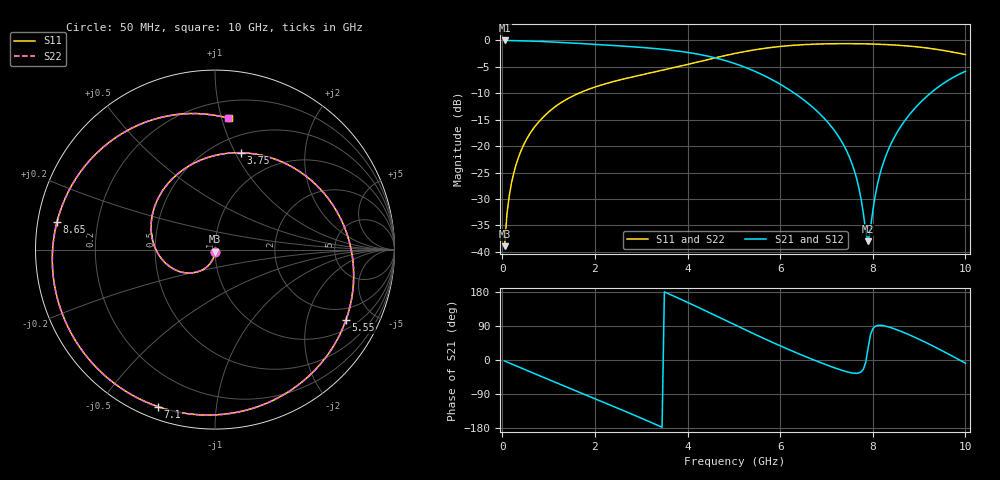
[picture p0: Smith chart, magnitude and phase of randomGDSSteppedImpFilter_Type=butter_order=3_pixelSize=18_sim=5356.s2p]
! freq	dB(S11)	phase(S11)	dB(S12)	phase(S12)
!  dB(S21)	phase(S21)	dB(S22)	phase(S22)
!S-par simulation data
#  GHz  S  DB  R 50
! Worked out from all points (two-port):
!   200 points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, 50 MHz to 10 GHz, reference 50 ohm
!   highest |S21| = 0.00 dB at 50 MHz (marker M1); lowest = -38.0 dB at 7.9 GHz (marker M2)
!   |S21| within 3 dB of the highest: start of sweep to 4.454 GHz
!   lowest |S11| = -38.9 dB at 50 MHz (marker M3), VSWR 1.02, Z = 49.9 - j1.13 ohm
!   |S11| at or under -10 dB: start of sweep to 1.65 GHz
!   |S22| runs from -38.9 to -0.6 dB; largest |S21 - S12| = 0
!   S11 on the Smith chart (normalised r, x): 50 MHz: 1.00, -0.02; 3.75 GHz: 0.67, +1.05; 5.55 GHz: 1.39, -3.46; 7.1 GHz: 0.05, -0.70; 8.65 GHz: 0.06, +0.09; 10 GHz: 0.33, +1.05
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0.05  -38.93 -92.4  -0.00 -2.6  -0.00 -2.6  -38.93 -92.4
0.1  -32.92 -95.2  -0.01 -5.2  -0.01 -5.2  -32.92 -95.2
0.2  -26.91 -100.5  -0.03 -10.4  -0.03 -10.4  -26.91 -100.5
0.5  -19.10 -116.4  -0.09 -25.9  -0.09 -25.9  -19.09 -116.4
1.15  -12.48 -149.8  -0.32 -59.1  -0.32 -59.1  -12.49 -149.8
1.75  -9.63 179.7  -0.61 -89.5  -0.61 -89.5  -9.63 179.8
2.65  -7.23 133.9  -1.10 -135.2  -1.10 -135.2  -7.23 134.0
3.4  -5.76 94.3  -1.62 -174.7  -1.62 -174.7  -5.76 94.4
3.75  -5.06 75.2  -1.96 166.1  -1.96 166.1  -5.06 75.3
4.45  -3.59 35.4  -2.99 126.3  -2.99 126.3  -3.59 35.6
5.05  -2.42 0.5  -4.46 91.2  -4.46 91.2  -2.42 0.7
5.55  -1.64 -28.2  -6.22 62.4  -6.22 62.4  -1.64 -28.0
6.15  -1.02 -61.2  -9.07 29.5  -9.07 29.5  -1.01 -61.1
6.7  -0.72 -89.9  -12.62 1.4  -12.62 1.4  -0.72 -89.7
7.1  -0.62 -109.9  -16.23 -17.3  -16.23 -17.3  -0.62 -109.7
7.6  -0.61 -134.7  -24.59 -34.9  -24.59 -34.9  -0.61 -134.5
7.9  -0.66 -149.7  -38.02 32.0  -38.02 32.0  -0.66 -149.6
8.1  -0.71 -160.0  -27.28 91.1  -27.28 91.1  -0.71 -159.8
8.35  -0.81 -173.2  -20.39 87.0  -20.39 87.0  -0.81 -173.0
8.65  -0.97 170.2  -15.69 73.6  -15.69 73.6  -0.97 170.4
9.4  -1.72 124.5  -8.91 30.7  -8.91 30.7  -1.72 124.7
10  -2.67 84.1  -5.85 -8.4  -5.85 -8.4  -2.67 84.3
